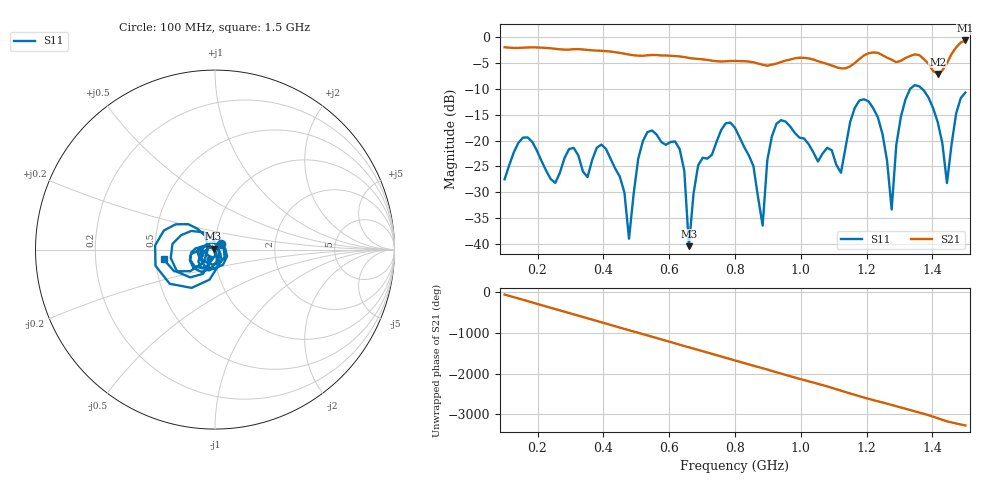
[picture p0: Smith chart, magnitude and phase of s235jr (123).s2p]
! NanoVNA-App
! Date: 2025-09-25 15:05:07
! Start: 100MHz Stop: 1,5GHz Points: 101
! S-Parameter data: F S11 S21 S12 S22
# Hz S RI R 50
!  Frequency  S11_Real  S11_Imag  S21_Real  S21_Imag  S12_Real  S12_Imag  S22_Real  S22_Imag
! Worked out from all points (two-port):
!   101 points, 100 MHz to 1.5 GHz, reference 50 ohm
!   highest |S21| = -0.65 dB at 1.5 GHz (marker M1); lowest = -7.1 dB at 1.416 GHz (marker M2)
!   |S21| within 3 dB of the highest: start of sweep to 613.6 MHz; 1.19 GHz to 1.252 GHz (62.65 MHz wide, 5.13 % of centre) (the widest 2 of 4)
!   lowest |S11| = -40.4 dB at 660 MHz (marker M3), VSWR 1.02, Z = 49.2 + j0.557 ohm
!   |S11| at or under -10 dB: start of sweep to 1.332 GHz; 1.368 GHz to end of sweep
!   S12 and S22 are empty: the file has one direction only
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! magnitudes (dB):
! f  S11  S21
! 100 MHz  -27.5  -2.0
! 156 MHz  -19.4  -2.0
! 338 MHz  -26.0  -2.4
! 408 MHz  -21.6  -2.7
! 478 MHz  -39.0  -3.4
! 520 MHz  -20.1  -3.6
! 576 MHz  -20.3  -3.6
! 632 MHz  -21.7  -3.7
! 660 MHz  -40.4  -4.0
! 688 MHz  -24.8  -4.2
! 800 MHz  -17.5  -4.6
! 884 MHz  -36.4  -5.3
! 926 MHz  -16.7  -5.1
! 1.038 GHz  -22.3  -4.3
! 1.122 GHz  -26.2  -6.0
! 1.206 GHz  -12.4  -3.1
! 1.276 GHz  -33.3  -4.4
! 1.29 GHz  -20.9  -4.8
! 1.332 GHz  -10.0  -3.7
! 1.416 GHz  -16.4  -7.1
! 1.444 GHz  -28.2  -5.0
! 1.5 GHz  -10.7  -0.6
